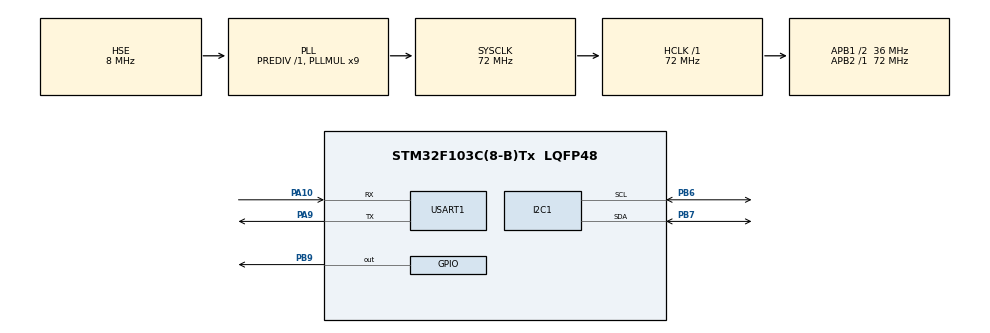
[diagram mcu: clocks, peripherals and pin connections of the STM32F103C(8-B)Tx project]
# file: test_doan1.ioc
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FREERTOS.Tasks01=clock_task,0,128,StartDefaultTask,Default,NULL,Dynamic,NULL,NULL;dht22_task,0,128,StartTask02,Default,NULL,Dynamic,NULL,NULL
I2C1.I2C_Mode=I2C_Fast
Mcu.Family=STM32F1
Mcu.Name=STM32F103C(8-B)Tx
Mcu.Package=LQFP48
NVIC.PriorityGroup=NVIC_PRIORITYGROUP_4
NVIC.TIM4_IRQn=true\:15\:0\:false\:false\:true\:false\:false\:true\:true
NVIC.TimeBase=TIM4_IRQn
NVIC.TimeBaseIP=TIM4
PA10.Mode=Asynchronous
PA10.Signal=USART1_RX
PA13.Mode=Serial_Wire
PA13.Signal=SYS_JTMS-SWDIO
PA14.Mode=Serial_Wire
PA14.Signal=SYS_JTCK-SWCLK
PA9.Mode=Asynchronous
PA9.Signal=USART1_TX
PB6.Mode=I2C
PB6.Signal=I2C1_SCL
PB7.Mode=I2C
PB7.Signal=I2C1_SDA
PB9.Signal=GPIO_Output
PD0-OSC_IN.Mode=HSE-External-Oscillator
PD0-OSC_IN.Signal=RCC_OSC_IN
PD1-OSC_OUT.Mode=HSE-External-Oscillator
PD1-OSC_OUT.Signal=RCC_OSC_OUT
ProjectManager.HeapSize=0x200
ProjectManager.StackSize=0x400
ProjectManager.TargetToolchain=MDK-ARM V5.32
RCC.AHBFreq_Value=72000000
RCC.APB1CLKDivider=RCC_HCLK_DIV2
RCC.APB1Freq_Value=36000000
RCC.APB1TimFreq_Value=72000000
RCC.APB2Freq_Value=72000000
RCC.APB2TimFreq_Value=72000000
RCC.HCLKFreq_Value=72000000
RCC.PLLMUL=RCC_PLL_MUL9
RCC.PLLSourceVirtual=RCC_PLLSOURCE_HSE
RCC.RTCClockSelection=RCC_RTCCLKSOURCE_HSE_DIV128
RCC.SYSCLKFreq_VALUE=72000000
RCC.SYSCLKSource=RCC_SYSCLKSOURCE_PLLCLK
RCC.USBFreq_Value=72000000
TIM1.Prescaler=71
USART1.VirtualMode=VM_ASYNC
VP_FREERTOS_VS_CMSIS_V1.Mode=CMSIS_V1
VP_RTC_No_RTC_Output.Mode=RTC_OUT_NO
VP_RTC_VS_RTC_Activate.Mode=RTC_Enabled
VP_RTC_VS_RTC_Calendar.Mode=RTC_Calendar
VP_SYS_VS_tim4.Mode=TIM4
VP_TIM1_VS_ClockSourceINT.Mode=Internal
board=custom

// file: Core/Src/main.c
/* USER CODE BEGIN Header */
/**
  ******************************************************************************
  * @file           : main.c
  * @brief          : Main program body
  ******************************************************************************
  * @attention
  *
  * Copyright (c) 2025 STMicroelectronics.
  * All rights reserved.
  *
  * This software is licensed under terms that can be found in the LICENSE file
  * in the root directory of this software component.
  * If no LICENSE file comes with this software, it is provided AS-IS.
  *
  ******************************************************************************
  */
/* USER CODE END Header */
#include "main.h"
#include "cmsis_os.h"
#include "fonts.h"
#include "ssd1306.h"
#include <stdio.h>
#include <stdlib.h>

/* USER CODE BEGIN Includes */
#define DHT22_PORT GPIOB
#define DHT22_PIN GPIO_PIN_9
/* USER CODE END Includes */

I2C_HandleTypeDef hi2c1;

RTC_HandleTypeDef hrtc;

TIM_HandleTypeDef htim1;

UART_HandleTypeDef huart1;

osThreadId clock_taskHandle;
osThreadId dht22_taskHandle;

void SystemClock_Config(void);
static void MX_GPIO_Init(void);
static void MX_I2C1_Init(void);
static void MX_TIM1_Init(void);
static void MX_RTC_Init(void);
static void MX_USART1_UART_Init(void);
void StartDefaultTask(void const * argument);
void StartTask02(void const * argument);

/* USER CODE BEGIN PFP */
uint8_t RH1, RH2, TC1, TC2, SUM, CHECK;
uint32_t pMillis, cMillis;
float tCelsius = 0;
float RH = 0;
uint8_t RHI, RHD, TCI, TCD;
char strCopy[15];

void microDelay (uint16_t delay)
{
  __HAL_TIM_SET_COUNTER(&htim1, 0);
  while (__HAL_TIM_GET_COUNTER(&htim1) < delay);
}

uint8_t DHT22_Start (void)
{
  uint8_t Response = 0;
  GPIO_InitTypeDef GPIO_InitStructPrivate = {0};
  GPIO_InitStructPrivate.Pin = DHT22_PIN;
  GPIO_InitStructPrivate.Mode = GPIO_MODE_OUTPUT_PP;
  GPIO_InitStructPrivate.Speed = GPIO_SPEED_FREQ_LOW;
  GPIO_InitStructPrivate.Pull = GPIO_NOPULL;
  HAL_GPIO_Init(DHT22_PORT, &GPIO_InitStructPrivate); // set the pin as output
  HAL_GPIO_WritePin (DHT22_PORT, DHT22_PIN, GPIO_PIN_RESET);   // pull the pin low
  microDelay (1300);   // wait for 1300us
  HAL_GPIO_WritePin (DHT22_PORT, DHT22_PIN, GPIO_PIN_SET);   // pull the pin high
  microDelay (30);   // wait for 30us
  GPIO_InitStructPrivate.Mode = GPIO_MODE_INPUT;
  GPIO_InitStructPrivate.Pull = GPIO_PULLUP;
  HAL_GPIO_Init(DHT22_PORT, &GPIO_InitStructPrivate); // set the pin as input
  microDelay (40);
  if (!(HAL_GPIO_ReadPin (DHT22_PORT, DHT22_PIN)))
  {
    microDelay (80);
    if ((HAL_GPIO_ReadPin (DHT22_PORT, DHT22_PIN))) Response = 1;
  }
  pMillis = HAL_GetTick();
  cMillis = HAL_GetTick();
  while ((HAL_GPIO_ReadPin (DHT22_PORT, DHT22_PIN)) && pMillis + 2 > cMillis)
  {
    cMillis = HAL_GetTick();
  }
  return Response;
}

uint8_t DHT22_Read (void)
{
  uint8_t a,b;
  for (a=0;a<8;a++)
  {
    pMillis = HAL_GetTick();
    cMillis = HAL_GetTick();
    while (!(HAL_GPIO_ReadPin (DHT22_PORT, DHT22_PIN)) && pMillis + 2 > cMillis)
    {  // wait for the pin to go high
      cMillis = HAL_GetTick();
    }
    microDelay (40);   // wait for 40 us
    if (!(HAL_GPIO_ReadPin (DHT22_PORT, DHT22_PIN)))   // if the pin is low
      b&= ~(1<<(7-a));
    else
      b|= (1<<(7-a));
    pMillis = HAL_GetTick();
    cMillis = HAL_GetTick();
    while ((HAL_GPIO_ReadPin (DHT22_PORT, DHT22_PIN)) && pMillis + 2 > cMillis)
    {  // wait for the pin to go low
      cMillis = HAL_GetTick();
    }
  }
  return b;
}

/* USER CODE END PFP */

int main(void)
{

  /* MCU Configuration--------------------------------------------------------*/

  /* Reset of all peripherals, Initializes the Flash interface and the Systick. */
  HAL_Init();

  /* Configure the system clock */
  SystemClock_Config();

  /* Initialize all configured peripherals */
  MX_GPIO_Init();
  MX_I2C1_Init();
  MX_TIM1_Init();
  MX_RTC_Init();
  MX_USART1_UART_Init();
	HAL_Delay(1000);
	SSD1306_Init();

char buf[32];
char rx_data[10];
uint8_t index;
char c;
RTC_TimeTypeDef sTime;

// ===== Nhập giờ =====
index = 0;
sprintf(buf, "nhap gio\r\n");
HAL_UART_Transmit(&huart1, (uint8_t*)buf, strlen(buf), HAL_MAX_DELAY);

do {
    HAL_UART_Receive(&huart1, (uint8_t*)&c, 1, HAL_MAX_DELAY);
    if (c != '\r' && c != '\n') {
        rx_data[index++] = c;
    }
} while (c != '\r' && c != '\n');

rx_data[index] = '\0';
sprintf(buf, "gio: %s\r\n", rx_data);
HAL_UART_Transmit(&huart1, (uint8_t*)buf, strlen(buf), HAL_MAX_DELAY);
sTime.Hours = atoi(rx_data);  // dùng giá trị nhập

// ===== Nhập phút =====
index = 0;
sprintf(buf, "nhap phut\r\n");
HAL_UART_Transmit(&huart1, (uint8_t*)buf, strlen(buf), HAL_MAX_DELAY);

do {
    HAL_UART_Receive(&huart1, (uint8_t*)&c, 1, HAL_MAX_DELAY);
    if (c != '\r' && c != '\n') {
        rx_data[index++] = c;
    }
} while (c != '\r' && c != '\n');

rx_data[index] = '\0';
sprintf(buf, "phut: %s\r\n", rx_data);
HAL_UART_Transmit(&huart1, (uint8_t*)buf, strlen(buf), HAL_MAX_DELAY);
sTime.Minutes = atoi(rx_data);  // dùng giá trị nhập
HAL_RTC_SetTime(&hrtc, &sTime, RTC_FORMAT_BIN);

  /* Create the thread(s) */
  /* definition and creation of clock_task */
  osThreadDef(clock_task, StartDefaultTask, osPriorityNormal, 0, 128);
  clock_taskHandle = osThreadCreate(osThread(clock_task), NULL);

  /* definition and creation of dht22_task */
  osThreadDef(dht22_task, StartTask02, osPriorityNormal, 0, 128);
  dht22_taskHandle = osThreadCreate(osThread(dht22_task), NULL);

  /* Start scheduler */
  osKernelStart();

  /* We should never get here as control is now taken by the scheduler */

  /* Infinite loop */
  while (1)
  {

  }
}

void SystemClock_Config(void)
{
  RCC_OscInitTypeDef RCC_OscInitStruct = {0};
  RCC_ClkInitTypeDef RCC_ClkInitStruct = {0};
  RCC_PeriphCLKInitTypeDef PeriphClkInit = {0};

  /** Initializes the RCC Oscillators according to the specified parameters
  * in the RCC_OscInitTypeDef structure.
  */
  RCC_OscInitStruct.OscillatorType = RCC_OSCILLATORTYPE_HSE;
  RCC_OscInitStruct.HSEState = RCC_HSE_ON;
  RCC_OscInitStruct.HSEPredivValue = RCC_HSE_PREDIV_DIV1;
  RCC_OscInitStruct.HSIState = RCC_HSI_ON;
  RCC_OscInitStruct.PLL.PLLState = RCC_PLL_ON;
  RCC_OscInitStruct.PLL.PLLSource = RCC_PLLSOURCE_HSE;
  RCC_OscInitStruct.PLL.PLLMUL = RCC_PLL_MUL9;
  if (HAL_RCC_OscConfig(&RCC_OscInitStruct) != HAL_OK)
  {
    Error_Handler();
  }

  /** Initializes the CPU, AHB and APB buses clocks
  */
  RCC_ClkInitStruct.ClockType = RCC_CLOCKTYPE_HCLK|RCC_CLOCKTYPE_SYSCLK
                              |RCC_CLOCKTYPE_PCLK1|RCC_CLOCKTYPE_PCLK2;
  RCC_ClkInitStruct.SYSCLKSource = RCC_SYSCLKSOURCE_PLLCLK;
  RCC_ClkInitStruct.AHBCLKDivider = RCC_SYSCLK_DIV1;
  RCC_ClkInitStruct.APB1CLKDivider = RCC_HCLK_DIV2;
  RCC_ClkInitStruct.APB2CLKDivider = RCC_HCLK_DIV1;

  if (HAL_RCC_ClockConfig(&RCC_ClkInitStruct, FLASH_LATENCY_2) != HAL_OK)
  {
    Error_Handler();
  }
  PeriphClkInit.PeriphClockSelection = RCC_PERIPHCLK_RTC;
  PeriphClkInit.RTCClockSelection = RCC_RTCCLKSOURCE_HSE_DIV128;
  if (HAL_RCCEx_PeriphCLKConfig(&PeriphClkInit) != HAL_OK)
  {
    Error_Handler();
  }
}

static void MX_I2C1_Init(void)
{

  hi2c1.Instance = I2C1;
  hi2c1.Init.ClockSpeed = 400000;
  hi2c1.Init.DutyCycle = I2C_DUTYCYCLE_2;
  hi2c1.Init.OwnAddress1 = 0;
  hi2c1.Init.AddressingMode = I2C_ADDRESSINGMODE_7BIT;
  hi2c1.Init.DualAddressMode = I2C_DUALADDRESS_DISABLE;
  hi2c1.Init.OwnAddress2 = 0;
  hi2c1.Init.GeneralCallMode = I2C_GENERALCALL_DISABLE;
  hi2c1.Init.NoStretchMode = I2C_NOSTRETCH_DISABLE;
  if (HAL_I2C_Init(&hi2c1) != HAL_OK)
  {
    Error_Handler();
  }

}

static void MX_RTC_Init(void)
{

  RTC_TimeTypeDef sTime = {0};
  RTC_DateTypeDef DateToUpdate = {0};

  /** Initialize RTC Only
  */
  hrtc.Instance = RTC;
  hrtc.Init.AsynchPrediv = RTC_AUTO_1_SECOND;
  hrtc.Init.OutPut = RTC_OUTPUTSOURCE_NONE;
  if (HAL_RTC_Init(&hrtc) != HAL_OK)
  {
    Error_Handler();
  }

  /** Initialize RTC and set the Time and Date
  */
  sTime.Hours = 0x0;
  sTime.Minutes = 0x0;
  sTime.Seconds = 0x0;

  if (HAL_RTC_SetTime(&hrtc, &sTime, RTC_FORMAT_BCD) != HAL_OK)
  {
    Error_Handler();
  }
  DateToUpdate.WeekDay = RTC_WEEKDAY_MONDAY;
  DateToUpdate.Month = RTC_MONTH_JANUARY;
  DateToUpdate.Date = 0x1;
  DateToUpdate.Year = 0x0;

  if (HAL_RTC_SetDate(&hrtc, &DateToUpdate, RTC_FORMAT_BCD) != HAL_OK)
  {
    Error_Handler();
  }

}

static void MX_TIM1_Init(void)
{

  TIM_ClockConfigTypeDef sClockSourceConfig = {0};
  TIM_MasterConfigTypeDef sMasterConfig = {0};

  htim1.Instance = TIM1;
  htim1.Init.Prescaler = 71;
  htim1.Init.CounterMode = TIM_COUNTERMODE_UP;
  htim1.Init.Period = 65535;
  htim1.Init.ClockDivision = TIM_CLOCKDIVISION_DIV1;
  htim1.Init.RepetitionCounter = 0;
  htim1.Init.AutoReloadPreload = TIM_AUTORELOAD_PRELOAD_DISABLE;
  if (HAL_TIM_Base_Init(&htim1) != HAL_OK)
  {
    Error_Handler();
  }
  sClockSourceConfig.ClockSource = TIM_CLOCKSOURCE_INTERNAL;
  if (HAL_TIM_ConfigClockSource(&htim1, &sClockSourceConfig) != HAL_OK)
  {
    Error_Handler();
  }
  sMasterConfig.MasterOutputTrigger = TIM_TRGO_RESET;
  sMasterConfig.MasterSlaveMode = TIM_MASTERSLAVEMODE_DISABLE;
  if (HAL_TIMEx_MasterConfigSynchronization(&htim1, &sMasterConfig) != HAL_OK)
  {
    Error_Handler();
  }

}

static void MX_USART1_UART_Init(void)
{

  huart1.Instance = USART1;
  huart1.Init.BaudRate = 115200;
  huart1.Init.WordLength = UART_WORDLENGTH_8B;
  huart1.Init.StopBits = UART_STOPBITS_1;
  huart1.Init.Parity = UART_PARITY_NONE;
  huart1.Init.Mode = UART_MODE_TX_RX;
  huart1.Init.HwFlowCtl = UART_HWCONTROL_NONE;
  huart1.Init.OverSampling = UART_OVERSAMPLING_16;
  if (HAL_UART_Init(&huart1) != HAL_OK)
  {
    Error_Handler();
  }

}

static void MX_GPIO_Init(void)
{
  GPIO_InitTypeDef GPIO_InitStruct = {0};

  /* GPIO Ports Clock Enable */
  __HAL_RCC_GPIOD_CLK_ENABLE();
  __HAL_RCC_GPIOA_CLK_ENABLE();
  __HAL_RCC_GPIOB_CLK_ENABLE();

  /*Configure GPIO pin Output Level */
  HAL_GPIO_WritePin(GPIOB, GPIO_PIN_9, GPIO_PIN_RESET);

  /*Configure GPIO pin : PB9 */
  GPIO_InitStruct.Pin = GPIO_PIN_9;
  GPIO_InitStruct.Mode = GPIO_MODE_OUTPUT_PP;
  GPIO_InitStruct.Pull = GPIO_NOPULL;
  GPIO_InitStruct.Speed = GPIO_SPEED_FREQ_LOW;
  HAL_GPIO_Init(GPIOB, &GPIO_InitStruct);

}

/* USER CODE BEGIN 4 */
void StartDefaultTask(void const * argument)
{
  RTC_TimeTypeDef sTime;
  RTC_DateTypeDef sDate;
  char timeStr[20];

  for(;;)
  {
    HAL_RTC_GetTime(&hrtc, &sTime, RTC_FORMAT_BIN);
    HAL_RTC_GetDate(&hrtc, &sDate, RTC_FORMAT_BIN); // Ph?i g?i d? clear flag RTC

    sprintf(timeStr, "Time:%02d:%02d", sTime.Hours, sTime.Minutes);

    SSD1306_GotoXY(0, 0); // D�ng d?u ti�n
		SSD1306_ClearArea(0, 0, 128, 15);
    SSD1306_Puts(timeStr,&Font_11x18, SSD1306_COLOR_WHITE);
    SSD1306_UpdateScreen();

    osDelay(60000);
  }
}
void StartTask02(void const * argument)
{

  HAL_TIM_Base_Start(&htim1); // Timer d? t?o microDelay

  for(;;)
  {
    if(DHT22_Start())
    {
      RH1 = DHT22_Read();
      RH2 = DHT22_Read();
      TC1 = DHT22_Read();
      TC2 = DHT22_Read();
      SUM = DHT22_Read();
      CHECK = RH1 + RH2 + TC1 + TC2;

      if (CHECK == SUM)
      {
        if (TC1>127) // If TC1=10000000, negative temperature
        {
          tCelsius = (float)TC2/10*(-1);
        }
        else
        {
          tCelsius = (float)((TC1<<8)|TC2)/10;
        }

        RH = (float) ((RH1<<8)|RH2)/10;
        SSD1306_GotoXY (0, 20);
        RHI = RH;  // Relative humidity integral
        RHD = RH*10-RHI*10; // Relative humidity decimal
        sprintf(strCopy,"Hump:%d.%d %%  ", RHI, RHD);
        SSD1306_Puts (strCopy, &Font_11x18, SSD1306_COLOR_WHITE);
        SSD1306_GotoXY (0, 40);
        if (tCelsius < 0)
        {
          TCI = tCelsius *(-1);  // Celsius integral
          TCD = tCelsius*(-10)-TCI*10; // Celsius decimal
          sprintf(strCopy,"Temp:-%d.%d C   ", TCI, TCD);
        }
        else
        {
          TCI = tCelsius;  // Celsius integral
          TCD = tCelsius*10-TCI*10; // Celsius decimal
          sprintf(strCopy,"Temp:%d.%d C   ", TCI, TCD);
        }

        SSD1306_Puts (strCopy, &Font_11x18, SSD1306_COLOR_WHITE);
        SSD1306_UpdateScreen();
      }
    }

    osDelay(2000);
  }
}
/* USER CODE END 4 */

void HAL_TIM_PeriodElapsedCallback(TIM_HandleTypeDef *htim)
{
  if (htim->Instance == TIM4) {
    HAL_IncTick();
  }
}

void Error_Handler(void)
{
  __disable_irq();
  while (1)
  {
  }
}
